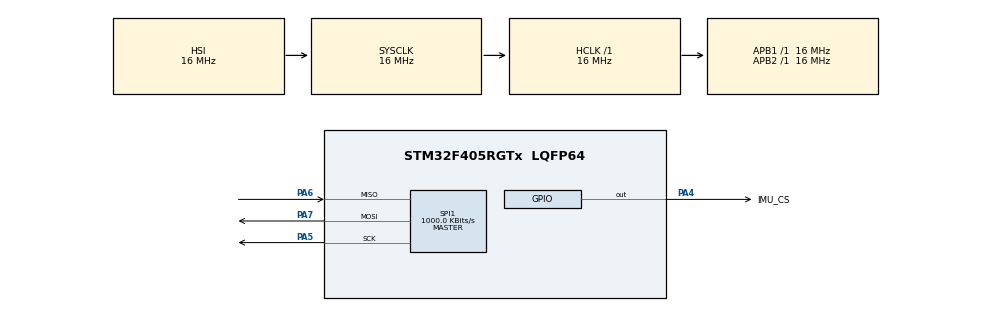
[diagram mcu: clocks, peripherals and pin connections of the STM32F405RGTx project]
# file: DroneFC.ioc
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Mcu.Family=STM32F4
Mcu.Name=STM32F405RGTx
Mcu.Package=LQFP64
NVIC.PriorityGroup=NVIC_PRIORITYGROUP_4
PA13.Mode=Serial_Wire
PA13.Signal=SYS_JTMS-SWDIO
PA14.Mode=Serial_Wire
PA14.Signal=SYS_JTCK-SWCLK
PA4.GPIO_Label=IMU_CS
PA4.PinState=GPIO_PIN_SET
PA4.Signal=GPIO_Output
PA5.Mode=Full_Duplex_Master
PA5.Signal=SPI1_SCK
PA6.Mode=Full_Duplex_Master
PA6.Signal=SPI1_MISO
PA7.Mode=Full_Duplex_Master
PA7.Signal=SPI1_MOSI
ProjectManager.HeapSize=0x200
ProjectManager.StackSize=0x400
ProjectManager.TargetToolchain=STM32CubeIDE
RCC.AHBFreq_Value=16000000
RCC.APB1Freq_Value=16000000
RCC.APB2Freq_Value=16000000
RCC.CortexFreq_Value=16000000
RCC.HSE_VALUE=25000000
RCC.HSI_VALUE=16000000
RCC.LSE_VALUE=32768
RCC.SYSCLKFreq_VALUE=16000000
RCC.VCOOutputFreq_Value=192000000
SPI1.BaudRatePrescaler=SPI_BAUDRATEPRESCALER_16
SPI1.CalculateBaudRate=1000.0 KBits/s
SPI1.Direction=SPI_DIRECTION_2LINES
SPI1.Mode=SPI_MODE_MASTER
SPI1.VirtualType=VM_MASTER
board=custom

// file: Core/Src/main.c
/* USER CODE BEGIN Header */
/**
  ******************************************************************************
  * @file           : main.c
  * @brief          : ICM-20602 gyro calibration + roll/pitch
  ******************************************************************************
  */
/* USER CODE END Header */

#include "main.h"
#include <math.h>

SPI_HandleTypeDef hspi1;

/* USER CODE BEGIN PV */

/* IMU status */
volatile uint8_t imu_who_am_i = 0;
volatile uint8_t imu_init_ok = 0;
volatile uint8_t gyro_calibrated = 0;
volatile HAL_StatusTypeDef imu_spi_status = HAL_ERROR;

/* Raw accelerometer */
volatile int16_t accel_x_raw = 0;
volatile int16_t accel_y_raw = 0;
volatile int16_t accel_z_raw = 0;

/* Raw gyro */
volatile int16_t gyro_x_raw = 0;
volatile int16_t gyro_y_raw = 0;
volatile int16_t gyro_z_raw = 0;

/* Temperature */
volatile int16_t temp_raw = 0;

/* Accelerometer values in g */
volatile float accel_x_g = 0.0f;
volatile float accel_y_g = 0.0f;
volatile float accel_z_g = 0.0f;

/* Raw converted gyro values in degrees/sec */
volatile float gyro_x_dps = 0.0f;
volatile float gyro_y_dps = 0.0f;
volatile float gyro_z_dps = 0.0f;

/* Gyro calibration offsets */
volatile float gyro_x_bias = 0.0f;
volatile float gyro_y_bias = 0.0f;
volatile float gyro_z_bias = 0.0f;

/* Bias-corrected gyro */
volatile float gyro_x_corrected = 0.0f;
volatile float gyro_y_corrected = 0.0f;
volatile float gyro_z_corrected = 0.0f;

/* Accelerometer-only angles */
volatile float accel_roll_deg = 0.0f;
volatile float accel_pitch_deg = 0.0f;

/* Final complementary-filter angles */
volatile float roll_deg = 0.0f;
volatile float pitch_deg = 0.0f;

/* Timing */
volatile float loop_dt = 0.01f;
uint32_t previous_time_ms = 0;

/* USER CODE END PV */

void SystemClock_Config(void);
static void MX_GPIO_Init(void);
static void MX_SPI1_Init(void);

/* USER CODE BEGIN PFP */

uint8_t ICM20602_ReadRegister(uint8_t reg);

void ICM20602_ReadRegisters(uint8_t reg,
                            uint8_t *data,
                            uint8_t length);

void ICM20602_WriteRegister(uint8_t reg,
                            uint8_t value);

uint8_t ICM20602_Init(void);

void ICM20602_ReadSensor(void);

void ICM20602_CalibrateGyro(void);

void CalculateAccelAngles(void);

void InitializeAttitude(void);

void UpdateAttitude(void);

/* USER CODE END PFP */

/* USER CODE BEGIN 0 */

/*
 * ICM-20602 register addresses
 */
#define ICM20602_WHO_AM_I       0x75
#define ICM20602_PWR_MGMT_1     0x6B
#define ICM20602_SMPLRT_DIV     0x19
#define ICM20602_CONFIG         0x1A
#define ICM20602_GYRO_CONFIG    0x1B
#define ICM20602_ACCEL_CONFIG   0x1C
#define ICM20602_ACCEL_CONFIG2  0x1D
#define ICM20602_ACCEL_XOUT_H   0x3B

#define RAD_TO_DEG 57.2957795f

/*
 * Complementary filter:
 *
 * Higher value = trust gyro more
 * Lower value  = trust accelerometer more
 */
#define COMPLEMENTARY_ALPHA 0.98f

/* ============================================================
   WRITE ONE REGISTER
   ============================================================ */

void ICM20602_WriteRegister(uint8_t reg, uint8_t value)
{
    uint8_t tx[2];

    /*
     * Bit 7 = 0 means write.
     */
    tx[0] = reg & 0x7F;
    tx[1] = value;

    HAL_GPIO_WritePin(IMU_CS_GPIO_Port,
                      IMU_CS_Pin,
                      GPIO_PIN_RESET);

    imu_spi_status =
        HAL_SPI_Transmit(&hspi1,
                         tx,
                         2,
                         100);

    HAL_GPIO_WritePin(IMU_CS_GPIO_Port,
                      IMU_CS_Pin,
                      GPIO_PIN_SET);
}

/* ============================================================
   READ ONE REGISTER
   ============================================================ */

uint8_t ICM20602_ReadRegister(uint8_t reg)
{
    uint8_t tx[2] = {0};
    uint8_t rx[2] = {0};

    /*
     * Bit 7 = 1 means read.
     */
    tx[0] = reg | 0x80;
    tx[1] = 0x00;

    HAL_GPIO_WritePin(IMU_CS_GPIO_Port,
                      IMU_CS_Pin,
                      GPIO_PIN_RESET);

    imu_spi_status =
        HAL_SPI_TransmitReceive(&hspi1,
                                tx,
                                rx,
                                2,
                                100);

    HAL_GPIO_WritePin(IMU_CS_GPIO_Port,
                      IMU_CS_Pin,
                      GPIO_PIN_SET);

    return rx[1];
}

/* ============================================================
   READ MULTIPLE REGISTERS
   ============================================================ */

void ICM20602_ReadRegisters(uint8_t reg,
                            uint8_t *data,
                            uint8_t length)
{
    uint8_t address;
    uint8_t dummy[14] = {0};

    /*
     * This function currently supports
     * up to 14 bytes because that is all
     * the sensor data we need here.
     */
    if (length > 14)
    {
        imu_spi_status = HAL_ERROR;
        return;
    }

    address = reg | 0x80;

    HAL_GPIO_WritePin(IMU_CS_GPIO_Port,
                      IMU_CS_Pin,
                      GPIO_PIN_RESET);

    /*
     * Send register address.
     */
    imu_spi_status =
        HAL_SPI_Transmit(&hspi1,
                         &address,
                         1,
                         100);

    /*
     * Only continue if sending the address worked.
     */
    if (imu_spi_status == HAL_OK)
    {
        /*
         * Send dummy bytes while
         * clocking sensor data back.
         */
        imu_spi_status =
            HAL_SPI_TransmitReceive(&hspi1,
                                    dummy,
                                    data,
                                    length,
                                    100);
    }

    HAL_GPIO_WritePin(IMU_CS_GPIO_Port,
                      IMU_CS_Pin,
                      GPIO_PIN_SET);
}

/* ============================================================
   INITIALIZE ICM-20602
   ============================================================ */

uint8_t ICM20602_Init(void)
{
    uint8_t verify;

    HAL_Delay(100);

    /*
     * Check WHO_AM_I.
     *
     * Expected ICM-20602 ID = 0x12
     */
    imu_who_am_i =
        ICM20602_ReadRegister(ICM20602_WHO_AM_I);

    if (imu_spi_status != HAL_OK)
    {
        return 0;
    }

    if (imu_who_am_i != 0x12)
    {
        return 0;
    }

    /*
     * Reset device.
     */
    ICM20602_WriteRegister(ICM20602_PWR_MGMT_1,
                           0x80);

    if (imu_spi_status != HAL_OK)
    {
        return 0;
    }

    HAL_Delay(100);

    /*
     * Wake device.
     *
     * Clock source = gyro PLL.
     */
    ICM20602_WriteRegister(ICM20602_PWR_MGMT_1,
                           0x01);

    if (imu_spi_status != HAL_OK)
    {
        return 0;
    }

    HAL_Delay(10);

    /*
     * Sample rate.
     *
     * With DLPF enabled:
     *
     * Base rate = 1000 Hz
     *
     * SMPLRT_DIV = 0
     *
     * Sample rate =
     * 1000 / (0 + 1)
     * = 1000 Hz
     */
    ICM20602_WriteRegister(ICM20602_SMPLRT_DIV,
                           0x00);

    if (imu_spi_status != HAL_OK)
    {
        return 0;
    }

    /*
     * Gyroscope digital low-pass filter.
     *
     * CONFIG = 0x03
     */
    ICM20602_WriteRegister(ICM20602_CONFIG,
                           0x03);

    if (imu_spi_status != HAL_OK)
    {
        return 0;
    }

    /*
     * Gyroscope range.
     *
     * 0x00 = +/-250 deg/s
     */
    ICM20602_WriteRegister(ICM20602_GYRO_CONFIG,
                           0x00);

    if (imu_spi_status != HAL_OK)
    {
        return 0;
    }

    /*
     * Accelerometer range.
     *
     * 0x00 = +/-2 g
     */
    ICM20602_WriteRegister(ICM20602_ACCEL_CONFIG,
                           0x00);

    if (imu_spi_status != HAL_OK)
    {
        return 0;
    }

    /*
     * Accelerometer digital low-pass filter.
     *
     * ACCEL_CONFIG2 = 0x03
     */
    ICM20602_WriteRegister(ICM20602_ACCEL_CONFIG2,
                           0x03);

    if (imu_spi_status != HAL_OK)
    {
        return 0;
    }

    HAL_Delay(10);

    /* ========================================================
       VERIFY CONFIGURATION
       ======================================================== */

    /*
     * Verify sample rate.
     */
    verify =
        ICM20602_ReadRegister(ICM20602_SMPLRT_DIV);

    if (imu_spi_status != HAL_OK)
    {
        return 0;
    }

    if (verify != 0x00)
    {
        return 0;
    }

    /*
     * Verify gyro DLPF.
     */
    verify =
        ICM20602_ReadRegister(ICM20602_CONFIG);

    if (imu_spi_status != HAL_OK)
    {
        return 0;
    }

    if (verify != 0x03)
    {
        return 0;
    }

    /*
     * Verify gyro range.
     */
    verify =
        ICM20602_ReadRegister(ICM20602_GYRO_CONFIG);

    if (imu_spi_status != HAL_OK)
    {
        return 0;
    }

    if (verify != 0x00)
    {
        return 0;
    }

    /*
     * Verify accelerometer range.
     */
    verify =
        ICM20602_ReadRegister(ICM20602_ACCEL_CONFIG);

    if (imu_spi_status != HAL_OK)
    {
        return 0;
    }

    if (verify != 0x00)
    {
        return 0;
    }

    /*
     * Verify accelerometer DLPF.
     */
    verify =
        ICM20602_ReadRegister(ICM20602_ACCEL_CONFIG2);

    if (imu_spi_status != HAL_OK)
    {
        return 0;
    }

    if (verify != 0x03)
    {
        return 0;
    }

    /*
     * Check WHO_AM_I one final time.
     */
    imu_who_am_i =
        ICM20602_ReadRegister(ICM20602_WHO_AM_I);

    if (imu_spi_status != HAL_OK)
    {
        return 0;
    }

    if (imu_who_am_i != 0x12)
    {
        return 0;
    }

    return 1;
}

/* ============================================================
   READ SENSOR
   ============================================================ */

void ICM20602_ReadSensor(void)
{
    uint8_t data[14] = {0};

    /*
     * Start at ACCEL_XOUT_H = 0x3B.
     *
     * Read:
     *
     * accel X/Y/Z
     * temperature
     * gyro X/Y/Z
     */
    ICM20602_ReadRegisters(ICM20602_ACCEL_XOUT_H,
                           data,
                           14);

    /*
     * Do not update the sensor values
     * if the SPI transaction failed.
     */
    if (imu_spi_status != HAL_OK)
    {
        return;
    }

    /* Accelerometer raw values */

    accel_x_raw =
        (int16_t)(((uint16_t)data[0] << 8) |
                  data[1]);

    accel_y_raw =
        (int16_t)(((uint16_t)data[2] << 8) |
                  data[3]);

    accel_z_raw =
        (int16_t)(((uint16_t)data[4] << 8) |
                  data[5]);

    /* Temperature */

    temp_raw =
        (int16_t)(((uint16_t)data[6] << 8) |
                  data[7]);

    /* Gyroscope raw values */

    gyro_x_raw =
        (int16_t)(((uint16_t)data[8] << 8) |
                  data[9]);

    gyro_y_raw =
        (int16_t)(((uint16_t)data[10] << 8) |
                  data[11]);

    gyro_z_raw =
        (int16_t)(((uint16_t)data[12] << 8) |
                  data[13]);

    /*
     * Accelerometer:
     *
     * Range = +/-2 g
     * Sensitivity = 16384 counts/g
     */
    accel_x_g =
        (float)accel_x_raw / 16384.0f;

    accel_y_g =
        (float)accel_y_raw / 16384.0f;

    accel_z_g =
        (float)accel_z_raw / 16384.0f;

    /*
     * Gyroscope:
     *
     * Range = +/-250 deg/s
     * Sensitivity = 131 counts/(deg/s)
     */
    gyro_x_dps =
        (float)gyro_x_raw / 131.0f;

    gyro_y_dps =
        (float)gyro_y_raw / 131.0f;

    gyro_z_dps =
        (float)gyro_z_raw / 131.0f;
}

/* ============================================================
   GYRO CALIBRATION
   ============================================================ */

void ICM20602_CalibrateGyro(void)
{
    float x_sum = 0.0f;
    float y_sum = 0.0f;
    float z_sum = 0.0f;

    const uint16_t samples = 1000;

    gyro_calibrated = 0;

    /*
     * IMPORTANT:
     *
     * Keep the IMU completely still
     * while this runs.
     *
     * 1000 samples x 2 ms ≈ 2 seconds.
     */
    for (uint16_t i = 0; i < samples; i++)
    {
        ICM20602_ReadSensor();

        /*
         * If communication fails,
         * stop calibration.
         */
        if (imu_spi_status != HAL_OK)
        {
            return;
        }

        x_sum += gyro_x_dps;
        y_sum += gyro_y_dps;
        z_sum += gyro_z_dps;

        HAL_Delay(2);
    }

    /*
     * Average the stationary readings.
     *
     * These become the gyro biases.
     */
    gyro_x_bias =
        x_sum / (float)samples;

    gyro_y_bias =
        y_sum / (float)samples;

    gyro_z_bias =
        z_sum / (float)samples;

    gyro_calibrated = 1;
}

/* ============================================================
   ACCELEROMETER ANGLES
   ============================================================ */

void CalculateAccelAngles(void)
{
    /*
     * Roll:
     *
     * Rotation around X axis.
     */
    accel_roll_deg =
        atan2f(accel_y_g,
               accel_z_g)
        * RAD_TO_DEG;

    /*
     * Pitch:
     *
     * Rotation around Y axis.
     */
    accel_pitch_deg =
        atan2f(-accel_x_g,
               sqrtf((accel_y_g * accel_y_g) +
                     (accel_z_g * accel_z_g)))
        * RAD_TO_DEG;
}

/* ============================================================
   INITIAL ANGLE
   ============================================================ */

void InitializeAttitude(void)
{
    ICM20602_ReadSensor();

    if (imu_spi_status != HAL_OK)
    {
        return;
    }

    CalculateAccelAngles();

    /*
     * Start complementary filter using the
     * accelerometer's initial orientation.
     */
    roll_deg =
        accel_roll_deg;

    pitch_deg =
        accel_pitch_deg;

    previous_time_ms =
        HAL_GetTick();
}

/* ============================================================
   COMPLEMENTARY FILTER
   ============================================================ */

void UpdateAttitude(void)
{
    uint32_t current_time_ms;

    float gyro_roll;
    float gyro_pitch;

    /*
     * Read latest sensor values.
     */
    ICM20602_ReadSensor();

    if (imu_spi_status != HAL_OK)
    {
        return;
    }

    /*
     * Remove stationary gyro offsets.
     */
    gyro_x_corrected =
        gyro_x_dps -
        gyro_x_bias;

    gyro_y_corrected =
        gyro_y_dps -
        gyro_y_bias;

    gyro_z_corrected =
        gyro_z_dps -
        gyro_z_bias;

    /*
     * Get loop time.
     */
    current_time_ms =
        HAL_GetTick();

    loop_dt =
        (float)(current_time_ms -
                previous_time_ms)
        / 1000.0f;

    previous_time_ms =
        current_time_ms;

    /*
     * Protect against a weird dt while debugging.
     */
    if ((loop_dt <= 0.0f) ||
        (loop_dt > 0.1f))
    {
        loop_dt = 0.01f;
    }

    /*
     * Calculate angle based only on gravity.
     */
    CalculateAccelAngles();

    /*
     * Integrate gyro angular velocity.
     */
    gyro_roll =
        roll_deg +
        (gyro_x_corrected * loop_dt);

    gyro_pitch =
        pitch_deg +
        (gyro_y_corrected * loop_dt);

    /*
     * Complementary filter.
     *
     * 98% gyro
     * 2% accelerometer
     */
    roll_deg =
        (COMPLEMENTARY_ALPHA *
         gyro_roll)
        +
        ((1.0f - COMPLEMENTARY_ALPHA) *
         accel_roll_deg);

    pitch_deg =
        (COMPLEMENTARY_ALPHA *
         gyro_pitch)
        +
        ((1.0f - COMPLEMENTARY_ALPHA) *
         accel_pitch_deg);
}

/* USER CODE END 0 */

/* ============================================================
   MAIN
   ============================================================ */

int main(void)
{
    HAL_Init();

    SystemClock_Config();

    MX_GPIO_Init();

    MX_SPI1_Init();

    /* USER CODE BEGIN 2 */

    /*
     * Make sure IMU is deselected initially.
     */
    HAL_GPIO_WritePin(IMU_CS_GPIO_Port,
                      IMU_CS_Pin,
                      GPIO_PIN_SET);

    /*
     * Initialize sensor.
     *
     * This now also verifies:
     *
     * sample rate
     * gyro DLPF
     * gyro range
     * accel range
     * accel DLPF
     * WHO_AM_I
     */
    imu_init_ok =
        ICM20602_Init();

    if (imu_init_ok)
    {
        /*
         * IMPORTANT:
         *
         * Don't move the sensor during
         * gyro calibration.
         *
         * Takes about 2 seconds.
         */
        ICM20602_CalibrateGyro();

        /*
         * Establish initial roll/pitch.
         */
        if (gyro_calibrated)
        {
            InitializeAttitude();
        }
    }

    /* USER CODE END 2 */

    while (1)
    {
        /* USER CODE BEGIN 3 */

        if (imu_init_ok &&
            gyro_calibrated)
        {
            /*
             * Update roll and pitch.
             */
            UpdateAttitude();
        }
        else
        {
            /*
             * Retry WHO_AM_I if initialization
             * or calibration failed.
             */
            imu_who_am_i =
                ICM20602_ReadRegister(
                    ICM20602_WHO_AM_I
                );
        }

        /*
         * Approximately 100 Hz loop
         * for development.
         *
         * Later this should use a timer
         * instead of HAL_Delay().
         */
        HAL_Delay(10);

        /* USER CODE END 3 */
    }
}

/* ============================================================
   CLOCK CONFIG
   ============================================================ */

void SystemClock_Config(void)
{
    RCC_OscInitTypeDef RCC_OscInitStruct = {0};

    RCC_ClkInitTypeDef RCC_ClkInitStruct = {0};

    __HAL_RCC_PWR_CLK_ENABLE();

    __HAL_PWR_VOLTAGESCALING_CONFIG(
        PWR_REGULATOR_VOLTAGE_SCALE1
    );

    RCC_OscInitStruct.OscillatorType =
        RCC_OSCILLATORTYPE_HSI;

    RCC_OscInitStruct.HSIState =
        RCC_HSI_ON;

    RCC_OscInitStruct.HSICalibrationValue =
        RCC_HSICALIBRATION_DEFAULT;

    RCC_OscInitStruct.PLL.PLLState =
        RCC_PLL_NONE;

    if (HAL_RCC_OscConfig(&RCC_OscInitStruct)
        != HAL_OK)
    {
        Error_Handler();
    }

    RCC_ClkInitStruct.ClockType =
        RCC_CLOCKTYPE_HCLK |
        RCC_CLOCKTYPE_SYSCLK |
        RCC_CLOCKTYPE_PCLK1 |
        RCC_CLOCKTYPE_PCLK2;

    RCC_ClkInitStruct.SYSCLKSource =
        RCC_SYSCLKSOURCE_HSI;

    RCC_ClkInitStruct.AHBCLKDivider =
        RCC_SYSCLK_DIV1;

    RCC_ClkInitStruct.APB1CLKDivider =
        RCC_HCLK_DIV1;

    RCC_ClkInitStruct.APB2CLKDivider =
        RCC_HCLK_DIV1;

    if (HAL_RCC_ClockConfig(
            &RCC_ClkInitStruct,
            FLASH_LATENCY_0)
        != HAL_OK)
    {
        Error_Handler();
    }
}

/* ============================================================
   SPI1 CONFIG
   ============================================================ */

static void MX_SPI1_Init(void)
{
    hspi1.Instance = SPI1;

    hspi1.Init.Mode =
        SPI_MODE_MASTER;

    hspi1.Init.Direction =
        SPI_DIRECTION_2LINES;

    hspi1.Init.DataSize =
        SPI_DATASIZE_8BIT;

    /*
     * ICM-20602 SPI mode:
     *
     * CPOL = 0
     * CPHA = 0
     */
    hspi1.Init.CLKPolarity =
        SPI_POLARITY_LOW;

    hspi1.Init.CLKPhase =
        SPI_PHASE_1EDGE;

    hspi1.Init.NSS =
        SPI_NSS_SOFT;

    /*
     * 16 MHz / 16 = 1 MHz
     */
    hspi1.Init.BaudRatePrescaler =
        SPI_BAUDRATEPRESCALER_16;

    hspi1.Init.FirstBit =
        SPI_FIRSTBIT_MSB;

    hspi1.Init.TIMode =
        SPI_TIMODE_DISABLE;

    hspi1.Init.CRCCalculation =
        SPI_CRCCALCULATION_DISABLE;

    hspi1.Init.CRCPolynomial = 10;

    if (HAL_SPI_Init(&hspi1) != HAL_OK)
    {
        Error_Handler();
    }
}

/* ============================================================
   GPIO CONFIG
   ============================================================ */

static void MX_GPIO_Init(void)
{
    GPIO_InitTypeDef GPIO_InitStruct = {0};

    __HAL_RCC_GPIOA_CLK_ENABLE();

    /*
     * CS inactive = HIGH.
     */
    HAL_GPIO_WritePin(
        IMU_CS_GPIO_Port,
        IMU_CS_Pin,
        GPIO_PIN_SET
    );

    GPIO_InitStruct.Pin =
        IMU_CS_Pin;

    GPIO_InitStruct.Mode =
        GPIO_MODE_OUTPUT_PP;

    GPIO_InitStruct.Pull =
        GPIO_NOPULL;

    GPIO_InitStruct.Speed =
        GPIO_SPEED_FREQ_LOW;

    HAL_GPIO_Init(
        IMU_CS_GPIO_Port,
        &GPIO_InitStruct
    );
}

/* ============================================================
   ERROR HANDLER
   ============================================================ */

void Error_Handler(void)
{
    __disable_irq();

    while (1)
    {
    }
}
